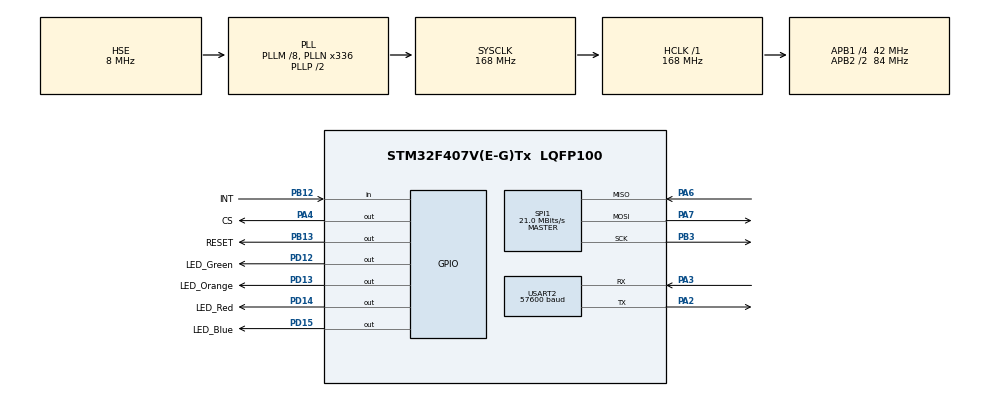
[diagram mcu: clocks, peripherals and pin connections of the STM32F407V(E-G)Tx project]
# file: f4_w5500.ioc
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FREERTOS.HEAP_NUMBER=2
FREERTOS.INCLUDE_vTaskDelayUntil=1
FREERTOS.Tasks01=defaultTask,0,128,StartDefaultTask,Default,NULL,Dynamic,NULL,NULL
FREERTOS.configUSE_IDLE_HOOK=1
FREERTOS.configUSE_MALLOC_FAILED_HOOK=1
FREERTOS.configUSE_TICK_HOOK=1
FREERTOS.configUSE_TIMERS=1
Mcu.Family=STM32F4
Mcu.Name=STM32F407V(E-G)Tx
Mcu.Package=LQFP100
NVIC.PriorityGroup=NVIC_PRIORITYGROUP_4
NVIC.TIM8_TRG_COM_TIM14_IRQn=true\:15\:0\:false\:false\:true\:false\:false\:true\:true
NVIC.TimeBase=TIM8_TRG_COM_TIM14_IRQn
NVIC.TimeBaseIP=TIM14
PA13.Mode=Serial_Wire
PA13.Signal=SYS_JTMS-SWDIO
PA14.Mode=Serial_Wire
PA14.Signal=SYS_JTCK-SWCLK
PA2.Mode=Asynchronous
PA2.Signal=USART2_TX
PA3.Mode=Asynchronous
PA3.Signal=USART2_RX
PA4.GPIO_Label=CS
PA4.Signal=GPIO_Output
PA6.Mode=Full_Duplex_Master
PA6.Signal=SPI1_MISO
PA7.Mode=Full_Duplex_Master
PA7.Signal=SPI1_MOSI
PB12.GPIO_Label=INT
PB12.Signal=GPIO_Input
PB13.GPIO_Label=RESET
PB13.Signal=GPIO_Output
PB3.Mode=Full_Duplex_Master
PB3.Signal=SPI1_SCK
PD12.GPIO_Label=LED_Green
PD12.Signal=GPIO_Output
PD13.GPIO_Label=LED_Orange
PD13.Signal=GPIO_Output
PD14.GPIO_Label=LED_Red
PD14.Signal=GPIO_Output
PD15.GPIO_Label=LED_Blue
PD15.Signal=GPIO_Output
PH0-OSC_IN.Mode=HSE-External-Oscillator
PH0-OSC_IN.Signal=RCC_OSC_IN
PH1-OSC_OUT.Mode=HSE-External-Oscillator
PH1-OSC_OUT.Signal=RCC_OSC_OUT
ProjectManager.HeapSize=0x2000
ProjectManager.StackSize=0x4000
ProjectManager.TargetToolchain=Makefile
RCC.48MHZClocksFreq_Value=84000000
RCC.AHBFreq_Value=168000000
RCC.APB1CLKDivider=RCC_HCLK_DIV4
RCC.APB1Freq_Value=42000000
RCC.APB1TimFreq_Value=84000000
RCC.APB2CLKDivider=RCC_HCLK_DIV2
RCC.APB2Freq_Value=84000000
RCC.APB2TimFreq_Value=168000000
RCC.CortexFreq_Value=21000000
RCC.Cortex_Div=SYSTICK_CLKSOURCE_HCLK_DIV8
RCC.HCLKFreq_Value=168000000
RCC.HSE_VALUE=8000000
RCC.HSI_VALUE=16000000
RCC.LSE_VALUE=32768
RCC.PLLM=8
RCC.PLLN=336
RCC.PLLSourceVirtual=RCC_PLLSOURCE_HSE
RCC.SYSCLKFreq_VALUE=168000000
RCC.SYSCLKSource=RCC_SYSCLKSOURCE_PLLCLK
RCC.VCOOutputFreq_Value=336000000
SPI1.BaudRatePrescaler=SPI_BAUDRATEPRESCALER_4
SPI1.CalculateBaudRate=21.0 MBits/s
SPI1.Direction=SPI_DIRECTION_2LINES
SPI1.Mode=SPI_MODE_MASTER
SPI1.VirtualType=VM_MASTER
USART2.BaudRate=57600
USART2.VirtualMode=VM_ASYNC
VP_FREERTOS_VS_CMSIS_V1.Mode=CMSIS_V1
VP_SYS_VS_tim14.Mode=TIM14
board=custom

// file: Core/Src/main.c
/* USER CODE BEGIN Header */
/**
  ******************************************************************************
  * @file           : main.c
  * @brief          : Main program body
  ******************************************************************************
  * @attention
  *
  * Copyright (c) 2025 STMicroelectronics.
  * All rights reserved.
  *
  * This software is licensed under terms that can be found in the LICENSE file
  * in the root directory of this software component.
  * If no LICENSE file comes with this software, it is provided AS-IS.
  *
  ******************************************************************************
  */
/* USER CODE END Header */
#include "main.h"
//#include "cmsis_os.h"
#include "spi.h"
#include "usart.h"
#include "gpio.h"

/* USER CODE BEGIN Includes */
#include "net.h"
#include "socket.h"
#include "w5500.h"
#include <stdio.h>
#include "FreeRTOS.h"
#include "task.h"
/* USER CODE END Includes */

/* USER CODE BEGIN PV */
extern leds_t leds[];
uint8_t handle_led =  green;
TaskHandle_t LEDTask_Handler=NULL;

extern char dbg_buf[];
/* USER CODE END PV */

void SystemClock_Config(void);
void MX_FREERTOS_Init(void);
void led_task(void *pvParameters);

int main(void)
{

  /* MCU Configuration--------------------------------------------------------*/

  /* Reset of all peripherals, Initializes the Flash interface and the Systick. */
  HAL_Init();

  /* Configure the system clock */
  SystemClock_Config();

  /* Initialize all configured peripherals */
  MX_GPIO_Init();
  MX_SPI1_Init();
  MX_USART2_UART_Init();
  /* USER CODE BEGIN 2 */

  #ifdef DEBUG_MODE
  dbg_putStr ("start\r\n");
  #endif

  w5500_driver_init ();
  socket_init ();
  xTaskCreate((TaskFunction_t )led_task, (const char*)"led_task", 128, (void* )NULL, (UBaseType_t)3,	(TaskHandle_t*)&LEDTask_Handler);
  /* USER CODE END 2 */

  /* Call init function for freertos objects (in cmsis_os2.c) */
 // MX_FREERTOS_Init();
  vTaskStartScheduler();   //Start scheduler
  /* We should never get here as control is now taken by the scheduler */

  /* Infinite loop */
  /* USER CODE BEGIN WHILE */
  while (1)
  {
    /*control_LED (handle_led, OFF);
    handle_led++;
    if (handle_led >= number)
    { handle_led = green; }
    control_LED (handle_led, ON);
    HAL_Delay (200);
    check_UDPnet();*/

    /* USER CODE END WHILE */

  }
}

void SystemClock_Config(void)
{
  RCC_OscInitTypeDef RCC_OscInitStruct = {0};
  RCC_ClkInitTypeDef RCC_ClkInitStruct = {0};

  /** Configure the main internal regulator output voltage
  */
  __HAL_RCC_PWR_CLK_ENABLE();
  __HAL_PWR_VOLTAGESCALING_CONFIG(PWR_REGULATOR_VOLTAGE_SCALE1);

  /** Initializes the RCC Oscillators according to the specified parameters
  * in the RCC_OscInitTypeDef structure.
  */
  RCC_OscInitStruct.OscillatorType = RCC_OSCILLATORTYPE_HSE;
  RCC_OscInitStruct.HSEState = RCC_HSE_ON;
  RCC_OscInitStruct.PLL.PLLState = RCC_PLL_ON;
  RCC_OscInitStruct.PLL.PLLSource = RCC_PLLSOURCE_HSE;
  RCC_OscInitStruct.PLL.PLLM = 8;
  RCC_OscInitStruct.PLL.PLLN = 336;
  RCC_OscInitStruct.PLL.PLLP = RCC_PLLP_DIV2;
  RCC_OscInitStruct.PLL.PLLQ = 4;
  if (HAL_RCC_OscConfig(&RCC_OscInitStruct) != HAL_OK)
  {
    Error_Handler();
  }

  /** Initializes the CPU, AHB and APB buses clocks
  */
  RCC_ClkInitStruct.ClockType = RCC_CLOCKTYPE_HCLK|RCC_CLOCKTYPE_SYSCLK
                              |RCC_CLOCKTYPE_PCLK1|RCC_CLOCKTYPE_PCLK2;
  RCC_ClkInitStruct.SYSCLKSource = RCC_SYSCLKSOURCE_PLLCLK;
  RCC_ClkInitStruct.AHBCLKDivider = RCC_SYSCLK_DIV1;
  RCC_ClkInitStruct.APB1CLKDivider = RCC_HCLK_DIV4;
  RCC_ClkInitStruct.APB2CLKDivider = RCC_HCLK_DIV2;

  if (HAL_RCC_ClockConfig(&RCC_ClkInitStruct, FLASH_LATENCY_5) != HAL_OK)
  {
    Error_Handler();
  }
}

/* USER CODE BEGIN 4 */
void led_task(void *pvParameters)
{
  leds_init ();
  control_LED (handle_led, ON);
  for(;;)
  {
    control_LED (handle_led, OFF);
    handle_led++;
    if (handle_led >= number) { handle_led = green; }
    control_LED (handle_led, ON);
    vTaskDelay(500);
  }
}

/* USER CODE END 4 */

void HAL_TIM_PeriodElapsedCallback(TIM_HandleTypeDef *htim)
{
  if (htim->Instance == TIM14)
  {
    HAL_IncTick();
  }
}

void Error_Handler(void)
{
  __disable_irq();
  while (1)
  {
  }
}

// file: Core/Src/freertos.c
/* USER CODE BEGIN Header */
/**
  ******************************************************************************
  * File Name          : freertos.c
  * Description        : Code for freertos applications
  ******************************************************************************
  * @attention
  *
  * Copyright (c) 2025 STMicroelectronics.
  * All rights reserved.
  *
  * This software is licensed under terms that can be found in the LICENSE file
  * in the root directory of this software component.
  * If no LICENSE file comes with this software, it is provided AS-IS.
  *
  ******************************************************************************
  */
/* USER CODE END Header */

#include "FreeRTOS.h"
#include "task.h"
#include "main.h"
#include "cmsis_os.h"

osThreadId defaultTaskHandle;

void StartDefaultTask(void const * argument);

void MX_FREERTOS_Init(void); /* (MISRA C 2004 rule 8.1) */

/* GetIdleTaskMemory prototype (linked to static allocation support) */
void vApplicationGetIdleTaskMemory( StaticTask_t **ppxIdleTaskTCBBuffer, StackType_t **ppxIdleTaskStackBuffer, uint32_t *pulIdleTaskStackSize );

/* GetTimerTaskMemory prototype (linked to static allocation support) */
void vApplicationGetTimerTaskMemory( StaticTask_t **ppxTimerTaskTCBBuffer, StackType_t **ppxTimerTaskStackBuffer, uint32_t *pulTimerTaskStackSize );

/* Hook prototypes */
void vApplicationIdleHook(void);
void vApplicationTickHook(void);
void vApplicationMallocFailedHook(void);

/* USER CODE BEGIN 2 */
__weak void vApplicationIdleHook( void )
{
   /* vApplicationIdleHook() will only be called if configUSE_IDLE_HOOK is set
   to 1 in FreeRTOSConfig.h. It will be called on each iteration of the idle
   task. It is essential that code added to this hook function never attempts
   to block in any way (for example, call xQueueReceive() with a block time
   specified, or call vTaskDelay()). If the application makes use of the
   vTaskDelete() API function (as this demo application does) then it is also
   important that vApplicationIdleHook() is permitted to return to its calling
   function, because it is the responsibility of the idle task to clean up
   memory allocated by the kernel to any task that has since been deleted. */
}
/* USER CODE END 2 */

/* USER CODE BEGIN 3 */
__weak void vApplicationTickHook( void )
{
   /* This function will be called by each tick interrupt if
   configUSE_TICK_HOOK is set to 1 in FreeRTOSConfig.h. User code can be
   added here, but the tick hook is called from an interrupt context, so
   code must not attempt to block, and only the interrupt safe FreeRTOS API
   functions can be used (those that end in FromISR()). */
}
/* USER CODE END 3 */

/* USER CODE BEGIN 5 */
__weak void vApplicationMallocFailedHook(void)
{
   /* vApplicationMallocFailedHook() will only be called if
   configUSE_MALLOC_FAILED_HOOK is set to 1 in FreeRTOSConfig.h. It is a hook
   function that will get called if a call to pvPortMalloc() fails.
   pvPortMalloc() is called internally by the kernel whenever a task, queue,
   timer or semaphore is created. It is also called by various parts of the
   demo application. If heap_1.c or heap_2.c are used, then the size of the
   heap available to pvPortMalloc() is defined by configTOTAL_HEAP_SIZE in
   FreeRTOSConfig.h, and the xPortGetFreeHeapSize() API function can be used
   to query the size of free heap space that remains (although it does not
   provide information on how the remaining heap might be fragmented). */
}
/* USER CODE END 5 */

/* USER CODE BEGIN GET_IDLE_TASK_MEMORY */
static StaticTask_t xIdleTaskTCBBuffer;
static StackType_t xIdleStack[configMINIMAL_STACK_SIZE];

void vApplicationGetIdleTaskMemory( StaticTask_t **ppxIdleTaskTCBBuffer, StackType_t **ppxIdleTaskStackBuffer, uint32_t *pulIdleTaskStackSize )
{
  *ppxIdleTaskTCBBuffer = &xIdleTaskTCBBuffer;
  *ppxIdleTaskStackBuffer = &xIdleStack[0];
  *pulIdleTaskStackSize = configMINIMAL_STACK_SIZE;
  /* place for user code */
}
/* USER CODE END GET_IDLE_TASK_MEMORY */

/* USER CODE BEGIN GET_TIMER_TASK_MEMORY */
static StaticTask_t xTimerTaskTCBBuffer;
static StackType_t xTimerStack[configTIMER_TASK_STACK_DEPTH];

void vApplicationGetTimerTaskMemory( StaticTask_t **ppxTimerTaskTCBBuffer, StackType_t **ppxTimerTaskStackBuffer, uint32_t *pulTimerTaskStackSize )
{
  *ppxTimerTaskTCBBuffer = &xTimerTaskTCBBuffer;
  *ppxTimerTaskStackBuffer = &xTimerStack[0];
  *pulTimerTaskStackSize = configTIMER_TASK_STACK_DEPTH;
  /* place for user code */
}
/* USER CODE END GET_TIMER_TASK_MEMORY */

void MX_FREERTOS_Init(void) {

  /* Create the thread(s) */
  /* definition and creation of defaultTask */
  osThreadDef(defaultTask, StartDefaultTask, osPriorityNormal, 0, 128);
  defaultTaskHandle = osThreadCreate(osThread(defaultTask), NULL);

}

void StartDefaultTask(void const * argument)
{
  for(;;)
  {
    osDelay(1);
  }
}
